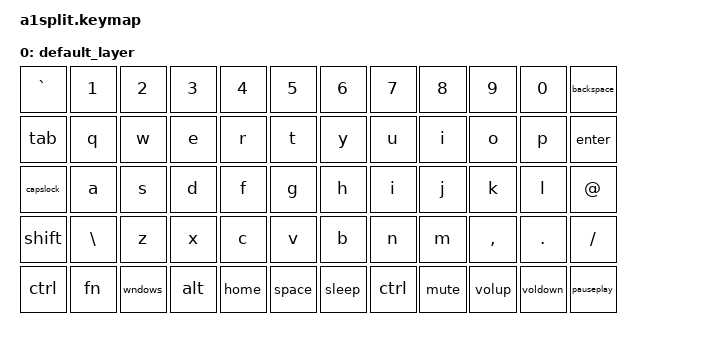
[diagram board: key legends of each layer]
#include <behaviors.dtsi>
#include <dt-bindings/zmk/keys.h>

/ {
    keymap {
        compatible = "zmk,keymap";

        default_layer { // Layer 0
            // -------------------------------------
            // |     Z     |     M     |     K     |
            // |     A     |     B     |     C     |
            // |     D     |     E     |     F     |
            bindings = <
                &kp `    &kp 1    &kp 2    &kp 3    &kp 4    &kp 5    &kp 6    &kp 7    &kp 8    &kp 9    &kp 0    &kp backspace
                &kp tab    &kp q   &kp w    &kp e    &kp r    &kp t    &kp y    &kp u    &kp i    &kp o    &kp p    &kp enter
                &kp capslock    &kp a    &kp s    &kp d    &kp f    &kp g    &kp h    &kp i    &kp j    &kp k    &kp l    &kp @
                &kp shift    &kp \    &kp z    &kp x    &kp c    &kp v    &kp b    &kp n    &kp m    &kp ,    &kp .    &kp /
                &kp ctrl    &kp fn    &kp wndows    &kp alt    &kp home    &kp space    &kp sleep    &kp ctrl    &kp mute    &kp volup    &kp voldown    &kp pauseplay

            >;
        };
    };
 };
